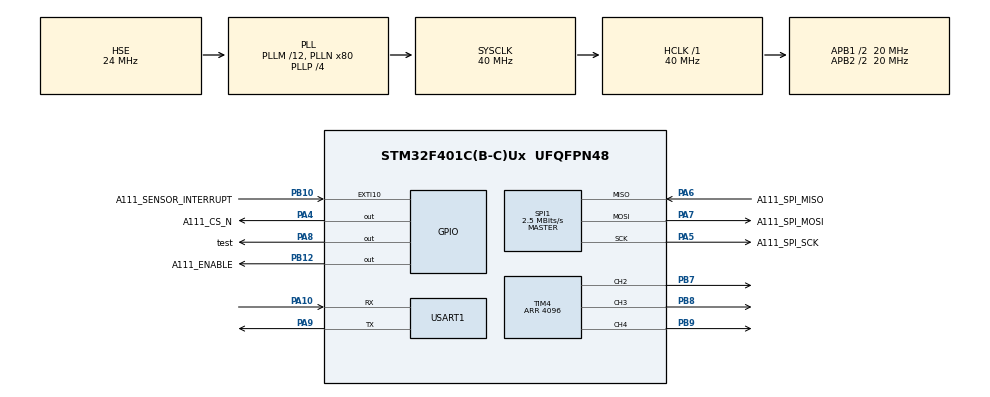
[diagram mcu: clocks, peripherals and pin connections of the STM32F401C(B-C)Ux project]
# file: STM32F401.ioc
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Dma.Request0=USART1_TX
Dma.USART1_TX.0.Direction=DMA_MEMORY_TO_PERIPH
Dma.USART1_TX.0.FIFOMode=DMA_FIFOMODE_DISABLE
Dma.USART1_TX.0.Instance=DMA2_Stream7
Dma.USART1_TX.0.MemDataAlignment=DMA_MDATAALIGN_BYTE
Dma.USART1_TX.0.MemInc=DMA_MINC_ENABLE
Dma.USART1_TX.0.Mode=DMA_NORMAL
Dma.USART1_TX.0.PeriphDataAlignment=DMA_PDATAALIGN_BYTE
Dma.USART1_TX.0.PeriphInc=DMA_PINC_DISABLE
Dma.USART1_TX.0.Priority=DMA_PRIORITY_LOW
Mcu.Family=STM32F4
Mcu.Name=STM32F401C(B-C)Ux
Mcu.Package=UFQFPN48
NVIC.DMA2_Stream7_IRQn=true\:0\:0\:false\:false\:true\:false\:true
NVIC.PriorityGroup=NVIC_PRIORITYGROUP_4
NVIC.SPI1_IRQn=true\:0\:0\:false\:false\:true\:true\:true
PA10.Mode=Asynchronous
PA10.Signal=USART1_RX
PA13.Mode=Serial_Wire
PA13.Signal=SYS_JTMS-SWDIO
PA14.Mode=Serial_Wire
PA14.Signal=SYS_JTCK-SWCLK
PA4.GPIO_Label=A111_CS_N
PA4.GPIO_PuPd=GPIO_PULLUP
PA4.GPIO_Speed=GPIO_SPEED_FREQ_LOW
PA4.PinState=GPIO_PIN_SET
PA4.Signal=GPIO_Output
PA5.GPIO_Label=A111_SPI_SCK
PA5.Mode=Full_Duplex_Master
PA5.Signal=SPI1_SCK
PA6.GPIO_Label=A111_SPI_MISO
PA6.Mode=Full_Duplex_Master
PA6.Signal=SPI1_MISO
PA7.GPIO_Label=A111_SPI_MOSI
PA7.Mode=Full_Duplex_Master
PA7.Signal=SPI1_MOSI
PA8.GPIO_Label=test
PA8.Signal=GPIO_Output
PA9.Mode=Asynchronous
PA9.Signal=USART1_TX
PB10.GPIO_Label=A111_SENSOR_INTERRUPT
PB10.Signal=GPXTI10
PB12.GPIO_Label=A111_ENABLE
PB12.Signal=GPIO_Output
PB7.Signal=S_TIM4_CH2
PB8.Signal=S_TIM4_CH3
PB9.Signal=S_TIM4_CH4
PH0\ -\ OSC_IN.Mode=HSE-External-Oscillator
PH0\ -\ OSC_IN.Signal=RCC_OSC_IN
PH1\ -\ OSC_OUT.Mode=HSE-External-Oscillator
PH1\ -\ OSC_OUT.Signal=RCC_OSC_OUT
ProjectManager.HeapSize=0x200
ProjectManager.StackSize=0x400
ProjectManager.TargetToolchain=STM32CubeIDE
RCC.48MHZClocksFreq_Value=40000000
RCC.AHBFreq_Value=40000000
RCC.APB1CLKDivider=RCC_HCLK_DIV2
RCC.APB1Freq_Value=20000000
RCC.APB1TimFreq_Value=40000000
RCC.APB2CLKDivider=RCC_HCLK_DIV2
RCC.APB2Freq_Value=20000000
RCC.APB2TimFreq_Value=40000000
RCC.CortexFreq_Value=40000000
RCC.HCLKFreq_Value=40000000
RCC.HSE_VALUE=24000000
RCC.HSI_VALUE=16000000
RCC.LSE_VALUE=32768
RCC.PLLM=12
RCC.PLLN=80
RCC.PLLP=RCC_PLLP_DIV4
RCC.PLLSourceVirtual=RCC_PLLSOURCE_HSE
RCC.SYSCLKFreq_VALUE=40000000
RCC.SYSCLKSource=RCC_SYSCLKSOURCE_PLLCLK
RCC.VCOOutputFreq_Value=160000000
RCC.VDD_VALUE=1.8
SH.S_TIM4_CH2.0=TIM4_CH2,PWM Generation2 CH2
SH.S_TIM4_CH3.0=TIM4_CH3,PWM Generation3 CH3
SH.S_TIM4_CH4.0=TIM4_CH4,PWM Generation4 CH4
SPI1.BaudRatePrescaler=SPI_BAUDRATEPRESCALER_8
SPI1.CLKPolarity=SPI_POLARITY_LOW
SPI1.CalculateBaudRate=2.5 MBits/s
SPI1.Direction=SPI_DIRECTION_2LINES
SPI1.Mode=SPI_MODE_MASTER
SPI1.VirtualType=VM_MASTER
TIM4.Channel-PWM\ Generation2\ CH2=TIM_CHANNEL_2
TIM4.Channel-PWM\ Generation3\ CH3=TIM_CHANNEL_3
TIM4.Channel-PWM\ Generation4\ CH4=TIM_CHANNEL_4
TIM4.Period=4096
USART1.VirtualMode=VM_ASYNC
VP_TIM4_VS_ClockSourceINT.Mode=Internal
board=custom

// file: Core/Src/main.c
/* USER CODE BEGIN Header */
/**
  ******************************************************************************
  * @file           : main.c
  * @brief          : Main program body
  ******************************************************************************
  * @attention
  *
  * <h2><center>&copy; Copyright (c) 2020 STMicroelectronics.
  * All rights reserved.</center></h2>
  *
  * This software component is licensed by ST under BSD 3-Clause license,
  * the "License"; You may not use this file except in compliance with the
  * License. You may obtain a copy of the License at:
  *                        opensource.org/licenses/BSD-3-Clause
  *
  ******************************************************************************
  */
/* USER CODE END Header */

#include "main.h"

/* USER CODE BEGIN Includes */
#include "stdio.h"
#include "example_service_power_bins.h"
#include "acc_hal_integration.h"

/* USER CODE END Includes */

SPI_HandleTypeDef hspi1;

TIM_HandleTypeDef htim4;

UART_HandleTypeDef huart1;
DMA_HandleTypeDef hdma_usart1_tx;

/* USER CODE BEGIN PV */
int count=0;
/* USER CODE END PV */

void SystemClock_Config(void);
static void MX_GPIO_Init(void);
static void MX_SPI1_Init(void);
static void MX_TIM4_Init(void);
static void MX_DMA_Init(void);
static void MX_USART1_UART_Init(void);
/* USER CODE BEGIN PFP */
bool hal_test_spi_read_chipid(void);
/* USER CODE END PFP */

/* USER CODE BEGIN 0 */
int _write(int file, char *ptr, int len){
	int i=0;
	for(i=0 ; i<len ; i++)
		ITM_SendChar((*ptr++));
	return len;
}
/* USER CODE END 0 */

int main(void)
{

  /* MCU Configuration--------------------------------------------------------*/

  /* Reset of all peripherals, Initializes the Flash interface and the Systick. */
  HAL_Init();

  /* Configure the system clock */
  SystemClock_Config();

  /* Initialize all configured peripherals */
  MX_GPIO_Init();
  MX_SPI1_Init();
  MX_TIM4_Init();
  MX_DMA_Init();
  MX_USART1_UART_Init();
  /* USER CODE BEGIN 2 */
  HAL_TIM_PWM_Start(&htim4, TIM_CHANNEL_2);
  HAL_TIM_PWM_Start(&htim4, TIM_CHANNEL_3);
  HAL_TIM_PWM_Start(&htim4, TIM_CHANNEL_4);
  TIM4->CCR2=500;
  TIM4->CCR3=750;
  TIM4->CCR4=1500;
  /* USER CODE END 2 */

  /* Infinite loop */
  /* USER CODE BEGIN WHILE */
  while (1)
  {

	if (hal_test_spi_read_chipid()) {
//    	HAL_GPIO_WritePin(GPIOA,test,1);
    	acc_example_service_power_bins();
//    	HAL_GPIO_WritePin(GPIOA,test,0);
    }
    /* USER CODE END WHILE */

    /* USER CODE BEGIN 3 */
    if (count++>100) {
    	count=0;
    	HAL_GPIO_TogglePin(GPIOA,test_Pin);
    }
  }
  /* USER CODE END 3 */
}

void SystemClock_Config(void)
{
  RCC_OscInitTypeDef RCC_OscInitStruct = {0};
  RCC_ClkInitTypeDef RCC_ClkInitStruct = {0};

  /** Configure the main internal regulator output voltage
  */
  __HAL_RCC_PWR_CLK_ENABLE();
  __HAL_PWR_VOLTAGESCALING_CONFIG(PWR_REGULATOR_VOLTAGE_SCALE2);
  /** Initializes the CPU, AHB and APB busses clocks
  */
  RCC_OscInitStruct.OscillatorType = RCC_OSCILLATORTYPE_HSE;
  RCC_OscInitStruct.HSEState = RCC_HSE_ON;
  RCC_OscInitStruct.PLL.PLLState = RCC_PLL_ON;
  RCC_OscInitStruct.PLL.PLLSource = RCC_PLLSOURCE_HSE;
  RCC_OscInitStruct.PLL.PLLM = 12;
  RCC_OscInitStruct.PLL.PLLN = 80;
  RCC_OscInitStruct.PLL.PLLP = RCC_PLLP_DIV4;
  RCC_OscInitStruct.PLL.PLLQ = 4;
  if (HAL_RCC_OscConfig(&RCC_OscInitStruct) != HAL_OK)
  {
    Error_Handler();
  }
  /** Initializes the CPU, AHB and APB busses clocks
  */
  RCC_ClkInitStruct.ClockType = RCC_CLOCKTYPE_HCLK|RCC_CLOCKTYPE_SYSCLK
                              |RCC_CLOCKTYPE_PCLK1|RCC_CLOCKTYPE_PCLK2;
  RCC_ClkInitStruct.SYSCLKSource = RCC_SYSCLKSOURCE_PLLCLK;
  RCC_ClkInitStruct.AHBCLKDivider = RCC_SYSCLK_DIV1;
  RCC_ClkInitStruct.APB1CLKDivider = RCC_HCLK_DIV2;
  RCC_ClkInitStruct.APB2CLKDivider = RCC_HCLK_DIV2;

  if (HAL_RCC_ClockConfig(&RCC_ClkInitStruct, FLASH_LATENCY_2) != HAL_OK)
  {
    Error_Handler();
  }
}

static void MX_SPI1_Init(void)
{

  /* SPI1 parameter configuration*/
  hspi1.Instance = SPI1;
  hspi1.Init.Mode = SPI_MODE_MASTER;
  hspi1.Init.Direction = SPI_DIRECTION_2LINES;
  hspi1.Init.DataSize = SPI_DATASIZE_8BIT;
  hspi1.Init.CLKPolarity = SPI_POLARITY_LOW;
  hspi1.Init.CLKPhase = SPI_PHASE_1EDGE;
  hspi1.Init.NSS = SPI_NSS_SOFT;
  hspi1.Init.BaudRatePrescaler = SPI_BAUDRATEPRESCALER_8;
  hspi1.Init.FirstBit = SPI_FIRSTBIT_MSB;
  hspi1.Init.TIMode = SPI_TIMODE_DISABLE;
  hspi1.Init.CRCCalculation = SPI_CRCCALCULATION_DISABLE;
  hspi1.Init.CRCPolynomial = 10;
  if (HAL_SPI_Init(&hspi1) != HAL_OK)
  {
    Error_Handler();
  }

}

static void MX_TIM4_Init(void)
{

  TIM_ClockConfigTypeDef sClockSourceConfig = {0};
  TIM_MasterConfigTypeDef sMasterConfig = {0};
  TIM_OC_InitTypeDef sConfigOC = {0};

  htim4.Instance = TIM4;
  htim4.Init.Prescaler = 0;
  htim4.Init.CounterMode = TIM_COUNTERMODE_UP;
  htim4.Init.Period = 4096;
  htim4.Init.ClockDivision = TIM_CLOCKDIVISION_DIV1;
  htim4.Init.AutoReloadPreload = TIM_AUTORELOAD_PRELOAD_DISABLE;
  if (HAL_TIM_Base_Init(&htim4) != HAL_OK)
  {
    Error_Handler();
  }
  sClockSourceConfig.ClockSource = TIM_CLOCKSOURCE_INTERNAL;
  if (HAL_TIM_ConfigClockSource(&htim4, &sClockSourceConfig) != HAL_OK)
  {
    Error_Handler();
  }
  if (HAL_TIM_PWM_Init(&htim4) != HAL_OK)
  {
    Error_Handler();
  }
  sMasterConfig.MasterOutputTrigger = TIM_TRGO_RESET;
  sMasterConfig.MasterSlaveMode = TIM_MASTERSLAVEMODE_DISABLE;
  if (HAL_TIMEx_MasterConfigSynchronization(&htim4, &sMasterConfig) != HAL_OK)
  {
    Error_Handler();
  }
  sConfigOC.OCMode = TIM_OCMODE_PWM1;
  sConfigOC.Pulse = 0;
  sConfigOC.OCPolarity = TIM_OCPOLARITY_HIGH;
  sConfigOC.OCFastMode = TIM_OCFAST_DISABLE;
  if (HAL_TIM_PWM_ConfigChannel(&htim4, &sConfigOC, TIM_CHANNEL_2) != HAL_OK)
  {
    Error_Handler();
  }
  if (HAL_TIM_PWM_ConfigChannel(&htim4, &sConfigOC, TIM_CHANNEL_3) != HAL_OK)
  {
    Error_Handler();
  }
  if (HAL_TIM_PWM_ConfigChannel(&htim4, &sConfigOC, TIM_CHANNEL_4) != HAL_OK)
  {
    Error_Handler();
  }
  HAL_TIM_MspPostInit(&htim4);

}

static void MX_USART1_UART_Init(void)
{

  huart1.Instance = USART1;
  huart1.Init.BaudRate = 115200;
  huart1.Init.WordLength = UART_WORDLENGTH_8B;
  huart1.Init.StopBits = UART_STOPBITS_1;
  huart1.Init.Parity = UART_PARITY_NONE;
  huart1.Init.Mode = UART_MODE_TX_RX;
  huart1.Init.HwFlowCtl = UART_HWCONTROL_NONE;
  huart1.Init.OverSampling = UART_OVERSAMPLING_16;
  if (HAL_UART_Init(&huart1) != HAL_OK)
  {
    Error_Handler();
  }

}

static void MX_DMA_Init(void)
{

  /* DMA controller clock enable */
  __HAL_RCC_DMA2_CLK_ENABLE();

  /* DMA interrupt init */
  /* DMA2_Stream7_IRQn interrupt configuration */
  HAL_NVIC_SetPriority(DMA2_Stream7_IRQn, 0, 0);
  HAL_NVIC_EnableIRQ(DMA2_Stream7_IRQn);

}

static void MX_GPIO_Init(void)
{
  GPIO_InitTypeDef GPIO_InitStruct = {0};

  /* GPIO Ports Clock Enable */
  __HAL_RCC_GPIOH_CLK_ENABLE();
  __HAL_RCC_GPIOA_CLK_ENABLE();
  __HAL_RCC_GPIOB_CLK_ENABLE();

  /*Configure GPIO pin Output Level */
  HAL_GPIO_WritePin(A111_CS_N_GPIO_Port, A111_CS_N_Pin, GPIO_PIN_SET);

  /*Configure GPIO pin Output Level */
  HAL_GPIO_WritePin(A111_ENABLE_GPIO_Port, A111_ENABLE_Pin, GPIO_PIN_RESET);

  /*Configure GPIO pin Output Level */
  HAL_GPIO_WritePin(test_GPIO_Port, test_Pin, GPIO_PIN_RESET);

  /*Configure GPIO pin : A111_CS_N_Pin */
  GPIO_InitStruct.Pin = A111_CS_N_Pin;
  GPIO_InitStruct.Mode = GPIO_MODE_OUTPUT_PP;
  GPIO_InitStruct.Pull = GPIO_PULLUP;
  GPIO_InitStruct.Speed = GPIO_SPEED_FREQ_LOW;
  HAL_GPIO_Init(A111_CS_N_GPIO_Port, &GPIO_InitStruct);

  /*Configure GPIO pin : A111_SENSOR_INTERRUPT_Pin */
  GPIO_InitStruct.Pin = A111_SENSOR_INTERRUPT_Pin;
  GPIO_InitStruct.Mode = GPIO_MODE_IT_RISING;
  GPIO_InitStruct.Pull = GPIO_NOPULL;
  HAL_GPIO_Init(A111_SENSOR_INTERRUPT_GPIO_Port, &GPIO_InitStruct);

  /*Configure GPIO pin : A111_ENABLE_Pin */
  GPIO_InitStruct.Pin = A111_ENABLE_Pin;
  GPIO_InitStruct.Mode = GPIO_MODE_OUTPUT_PP;
  GPIO_InitStruct.Pull = GPIO_NOPULL;
  GPIO_InitStruct.Speed = GPIO_SPEED_FREQ_LOW;
  HAL_GPIO_Init(A111_ENABLE_GPIO_Port, &GPIO_InitStruct);

  /*Configure GPIO pin : test_Pin */
  GPIO_InitStruct.Pin = test_Pin;
  GPIO_InitStruct.Mode = GPIO_MODE_OUTPUT_PP;
  GPIO_InitStruct.Pull = GPIO_NOPULL;
  GPIO_InitStruct.Speed = GPIO_SPEED_FREQ_LOW;
  HAL_GPIO_Init(test_GPIO_Port, &GPIO_InitStruct);

}

/* USER CODE BEGIN 4 */
bool hal_test_spi_read_chipid(void)
{
  const uint32_t sensor = 1;
  uint8_t buffer[6] = {0x30, 0x0, 0x0, 0x0, 0x0, 0x0};

  acc_hal_t hal = acc_hal_integration_get_implementation();
  hal.sensor_device.power_on(sensor);
  hal.sensor_device.transfer(sensor, buffer, sizeof(buffer));
  hal.sensor_device.power_off(sensor);
  if (buffer[2] == 0x0 && buffer[3] == 0x0 && buffer[4] == 0x11 && buffer[5] == 0x12) {
    //printf("Test OK!\n");
    return true;
  }
  else {
    //printf("Cannot read chip id!\n");
    return false;
  }
}
/* USER CODE END 4 */

void Error_Handler(void)
{
}

/************************ (C) COPYRIGHT STMicroelectronics *****END OF FILE****/
